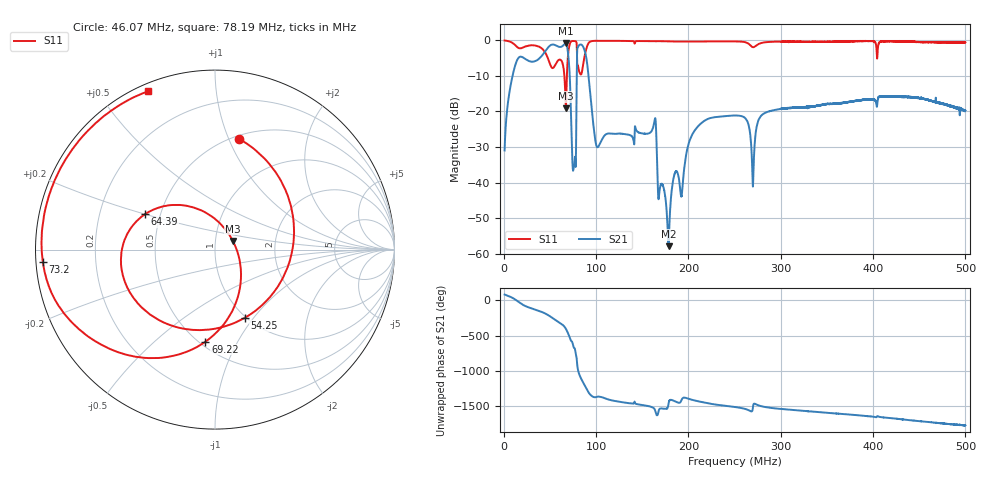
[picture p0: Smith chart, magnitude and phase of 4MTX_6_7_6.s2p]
! NanoVNA-App
! Date: 2026-08-18 21:50:02
! Start: 1MHz Stop: 500MHz Points: 6401
! S-Parameter data: F S11 S21 S12 S22
# Hz S RI R 50
!  Frequency  S11_Real  S11_Imag  S21_Real  S21_Imag  S12_Real  S12_Imag  S22_Real  S22_Imag
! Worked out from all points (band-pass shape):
!   6401 points, 1 MHz to 500 MHz, reference 50 ohm
!   highest |S21| = -0.89 dB at 67.12 MHz (marker M1); lowest = -57.9 dB at 178.5 MHz (marker M2)
!   |S21| within 3 dB of the highest: 42.87 MHz to 69.79 MHz (26.92 MHz wide, 47.8 % of centre); 79.47 MHz to 88.64 MHz (9.169 MHz wide, 10.9 % of centre)
!   lowest |S11| = -19.1 dB at 67.35 MHz (marker M3), VSWR 1.25, Z = 60.8 + j5.9 ohm
!   |S11| at or under -10 dB: 65.72 MHz to 68.45 MHz (2.729 MHz wide, 4.07 % of centre)
!   S12 and S22 are empty: the file has one direction only
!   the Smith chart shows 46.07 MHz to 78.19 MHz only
!   S11 on the Smith chart (normalised r, x): 46.07 MHz: 0.54, +1.09; 54.25 MHz: 0.98, -0.90; 64.39 MHz: 0.41, +0.20; 69.22 MHz: 0.53, -0.75; 73.2 MHz: 0.02, -0.04; 78.19 MHz: 0.03, +0.66
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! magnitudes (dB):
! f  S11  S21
! 1 MHz  -0.1  -31.0
! 14.49 MHz  -1.9  -5.6
! 46.07 MHz  -4.0  -2.7
! 54.25 MHz  -7.6  -1.3
! 64.39 MHz  -7.2  -1.5
! 67.12 MHz  -18.3  -0.9
! 67.35 MHz  -19.1  -0.9
! 69.22 MHz  -5.7  -2.7
! 73.2 MHz  -0.3  -24.7
! 76.01 MHz  -0.2  -35.5
! 78.19 MHz  -0.4  -33.7
! 84.19 MHz  -9.5  -1.3
! 101.2 MHz  -0.2  -30.1
! 162.7 MHz  -0.3  -23.6
! 167.4 MHz  -0.3  -44.1
! 178.5 MHz  -0.3  -57.9
! 206 MHz  -0.4  -25.7
! 250.5 MHz  -0.4  -21.2
! 269.9 MHz  -2.0  -41.1
! 333.7 MHz  -0.5  -18.8
! 416.9 MHz  -0.3  -15.7
! 500 MHz  -0.6  -19.7
